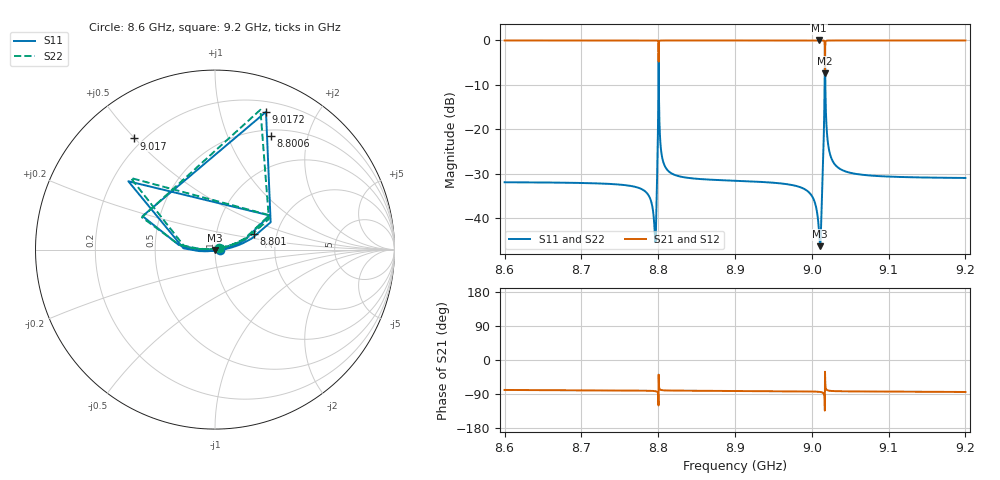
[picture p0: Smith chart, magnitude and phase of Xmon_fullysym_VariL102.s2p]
! Sonnet Data File
! From: emgraph Version : 16.52
! From Project: 171117_Xmon_fullysym
! Data is De-embedded
! Data File Written: 11/26/2017 21:44:46
!< HDATE 11/26/2017 17:24:49
!< MDATE 11/26/2017 17:24:49
!< PARAMS
!< Lj = 11.0
!< Gap = 1.0
!< Pwid = 2000.0
!< Airgap = 6.0
!< Width = 10.0
!< Lj1 = 10.2
!< END PARAMS
# GHZ S MA R 50.90000
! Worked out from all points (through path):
!   3001 points, 8.6 GHz to 9.2 GHz, reference 50.9 ohm
!   highest |S21| = 0.00 dB at 9.0094 GHz (marker M1); lowest = -7.3 dB at 9.0172 GHz (marker M2)
!   lowest |S11| = -46.2 dB at 9.0108 GHz (marker M3), VSWR 1.01, Z = 51 - j0.491 ohm
!   |S11| at or under -10 dB: start of sweep to 8.8002 GHz; 8.8009 GHz to 9.0166 GHz (215.8 MHz wide, 2.42 % of centre); 9.0177 GHz to end of sweep
!   |S22| runs from -46.0 to -1.7 dB; largest |S21 - S12| = 1.5e-10
!   S11 on the Smith chart (normalised r, x): 8.6 GHz: 1.05, -0.00; 8.8006 GHz: 0.58, +1.45; 8.801 GHz: 1.52, +0.29; 9.017 GHz: 0.17, +0.50; 9.0172 GHz: 0.30, +1.39; 9.2 GHz: 1.06, -0.01
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8.6  0.02549 -0.4  0.9997 -79.0  0.9997 -79.0  0.02549 22.3
!< P1 F=8.6 Eeff=(6.44845572 -2.9799e-5) Z0=(50.9087207 1.17006e-4) R=0.0 C=0.0
!< P2 F=8.6 Eeff=(6.44845572 -2.9799e-5) Z0=(50.9087207 1.17006e-4) R=0.0 C=0.0
8.7  0.02502 -1.8  0.9997 -80.0  0.9997 -80.0  0.02502 21.8
8.7786  0.02132 -5.1  0.9998 -80.9  0.9998 -80.9  0.02132 23.3
8.7948  0.008812 -29.4  0.9999 -81.9  0.9999 -81.9  0.00889 46.3
8.7966  0.005614 -98.0  0.9999 -82.4  0.9999 -82.4  0.005868 112.5
8.8002  0.2908 168.8  0.938 -99.2  0.938 -99.2  0.2915 165.4
8.8006  0.704 63.8  0.5772 -38.7  0.5772 -38.7  0.7054 62.9
8.801  0.2335 22.6  0.9642 -68.8  0.9642 -68.8  0.2338 23.8
8.8074  0.04102 3.0  0.9991 -80.0  0.9991 -80.0  0.04103 17.1
8.817  0.0322 0.2  0.9995 -80.6  0.9995 -80.6  0.0322 18.6
8.9002  0.0265 -3.2  0.9996 -81.7  0.9996 -81.7  0.0265 19.8
9.0002  0.01782 -10.2  0.9998 -83.2  0.9998 -83.2  0.01783 23.9
9.0094  0.007146 -38.1  0.9999 -83.9  0.9999 -83.9  0.007222 50.9
9.0108  0.004877 -81.1  0.9999 -84.2  0.9999 -84.2  0.00504 92.7
9.0126  0.01137 -151.0  0.9998 -84.9  0.9998 -84.9  0.01151 159.8
9.017  0.7661 126.1  0.5259 -133.4  0.5259 -133.4  0.767 127.7
9.0172  0.8183 69.7  0.4294 -31.1  0.4294 -31.1  0.8192 72.0
9.0192  0.1073 8.6  0.9935 -78.2  0.9935 -78.2  0.1074 15.9
9.024  0.05177 2.1  0.9986 -81.4  0.9986 -81.4  0.05178 15.2
9.033  0.03801 -0.8  0.9993 -82.3  0.9993 -82.3  0.03801 16.2
9.1  0.02953 -4.3  0.9996 -83.4  0.9996 -83.4  0.02953 17.4
9.2  0.02849 -5.8  0.9996 -84.4  0.9996 -84.4  0.02849 17.0
